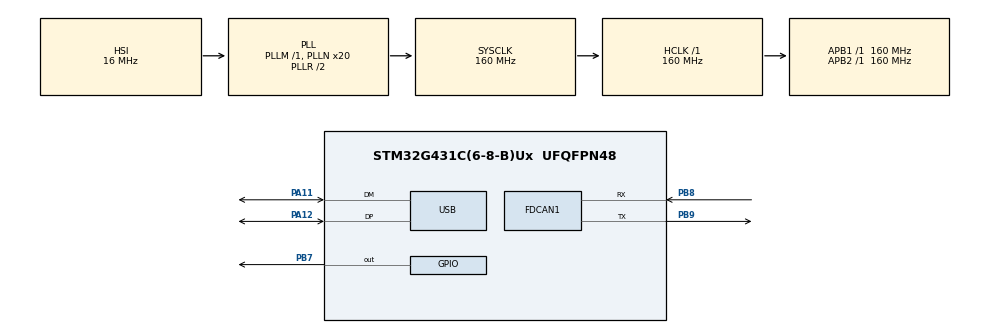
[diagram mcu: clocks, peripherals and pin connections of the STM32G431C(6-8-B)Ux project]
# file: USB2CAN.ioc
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FDCAN1.AutoRetransmission=ENABLE
FDCAN1.CalculateBaudRateNominal=1000000
FDCAN1.CalculateTimeBitNominal=1000
FDCAN1.CalculateTimeQuantumNominal=50.0
FDCAN1.DataSyncJumpWidth=8
FDCAN1.DataTimeSeg1=16
FDCAN1.DataTimeSeg2=8
FDCAN1.ExtFiltersNbr=0
FDCAN1.FrameFormat=FDCAN_FRAME_FD_BRS
FDCAN1.Mode=FDCAN_MODE_NORMAL
FDCAN1.NominalPrescaler=8
FDCAN1.NominalSyncJumpWidth=64
FDCAN1.NominalTimeSeg1=12
FDCAN1.NominalTimeSeg2=7
FDCAN1.StdFiltersNbr=0
FDCAN1.TxFifoQueueMode=FDCAN_TX_FIFO_OPERATION
Mcu.Family=STM32G4
Mcu.Name=STM32G431C(6-8-B)Ux
Mcu.Package=UFQFPN48
NVIC.FDCAN1_IT0_IRQn=true\:10\:0\:true\:false\:true\:true\:true\:true
NVIC.PriorityGroup=NVIC_PRIORITYGROUP_4
NVIC.USB_HP_IRQn=true\:5\:0\:true\:false\:true\:true\:true\:true
NVIC.USB_LP_IRQn=true\:0\:0\:false\:false\:true\:false\:true\:true
PA11.Mode=Device
PA11.Signal=USB_DM
PA12.Mode=Device
PA12.Signal=USB_DP
PA13.Mode=JTAG_5_pins
PA13.Signal=SYS_JTMS-SWDIO
PA14.Mode=JTAG_5_pins
PA14.Signal=SYS_JTCK-SWCLK
PA15.Mode=JTAG_5_pins
PA15.Signal=SYS_JTDI
PB3.Mode=JTAG_5_pins
PB3.Signal=SYS_JTDO-SWO
PB4.Mode=JTAG_5_pins
PB4.Signal=SYS_JTRST
PB7.Signal=GPIO_Output
PB8-BOOT0.Mode=FDCAN_Activate
PB8-BOOT0.Signal=FDCAN1_RX
PB9.Mode=FDCAN_Activate
PB9.Signal=FDCAN1_TX
PF0-OSC_IN.Mode=HSE-External-Oscillator
PF0-OSC_IN.Signal=RCC_OSC_IN
PF1-OSC_OUT.Mode=HSE-External-Oscillator
PF1-OSC_OUT.Signal=RCC_OSC_OUT
ProjectManager.HeapSize=0x600
ProjectManager.StackSize=0x400
ProjectManager.TargetToolchain=STM32CubeIDE
RCC.ADC12Freq_Value=160000000
RCC.AHBFreq_Value=160000000
RCC.APB1Freq_Value=160000000
RCC.APB1TimFreq_Value=160000000
RCC.APB2Freq_Value=160000000
RCC.APB2TimFreq_Value=160000000
RCC.CK48CLockSelection=RCC_USBCLKSOURCE_HSI48
RCC.CortexFreq_Value=160000000
RCC.EXTERNAL_CLOCK_VALUE=12288000
RCC.HCLKFreq_Value=160000000
RCC.HSE_VALUE=8000000
RCC.HSI48_VALUE=48000000
RCC.HSI_VALUE=16000000
RCC.LSE_VALUE=32768
RCC.PLLN=20
RCC.SYSCLKFreq_VALUE=160000000
RCC.SYSCLKSource=RCC_SYSCLKSOURCE_PLLCLK
RCC.USBFreq_Value=48000000
RCC.VCOOutputFreq_Value=320000000
USB_DEVICE.CLASS_NAME_FS=CDC
USB_DEVICE.VirtualMode=Cdc
USB_DEVICE.VirtualModeFS=Cdc_FS
VP_SYS_VS_DBSignals.Mode=DisableDeadBatterySignals
VP_USB_DEVICE_VS_USB_DEVICE_CDC_FS.Mode=CDC_FS
board=custom

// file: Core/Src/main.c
/* USER CODE BEGIN Header */
/**
  ******************************************************************************
  * @file           : main.c
  * @brief          : Main program body
  ******************************************************************************
  * @attention
  *
  * Copyright (c) 2024 STMicroelectronics.
  * All rights reserved.
  *
  * This software is licensed under terms that can be found in the LICENSE file
  * in the root directory of this software component.
  * If no LICENSE file comes with this software, it is provided AS-IS.
  *
  ******************************************************************************
  */
/* USER CODE END Header */
#include "main.h"
#include "fdcan.h"
#include "usb_device.h"
#include "gpio.h"
#include "usbd_cdc_if.h"

/* USER CODE BEGIN PD */
FDCAN_TxHeaderTypeDef TxHeader;
FDCAN_RxHeaderTypeDef RxHeader;
uint8_t TxData[64];
uint8_t RxData[64];
uint8_t output[69];
uint8_t msg[69];
uint8_t dummy_mode = 0; //dummy mode on;
uint32_t id;
uint32_t dlc;
uint8_t CANFD_Rx_Cpl;
/* USER CODE END PD */

void SystemClock_Config(void);

int main(void)
{

  /* MCU Configuration--------------------------------------------------------*/

  /* Reset of all peripherals, Initializes the Flash interface and the Systick. */
  HAL_Init();

  /* Configure the system clock */
  SystemClock_Config();

  /* Initialize all configured peripherals */
  MX_GPIO_Init();
  MX_FDCAN1_Init();
  MX_USB_Device_Init();
  /* USER CODE BEGIN 2 */

  /*
   * @brief can transciver on
   */
  HAL_GPIO_WritePin(GPIOB, GPIO_PIN_7, 0);

  if(HAL_FDCAN_Start(&hfdcan1) != HAL_OK){
	  Error_Handler();
  }
  if(HAL_FDCAN_ActivateNotification(&hfdcan1, FDCAN_IT_RX_FIFO0_NEW_MESSAGE, 0) != HAL_OK){
  	  Error_Handler();
  }

  /*
   * @brief Configure the RX message filter mask for FDCAN1
   *
   * */
  	FDCAN_FilterTypeDef sFilterConfig;

  	sFilterConfig.IdType = FDCAN_STANDARD_ID;
  	sFilterConfig.FilterIndex = 0;
  	sFilterConfig.FilterType = FDCAN_FILTER_MASK;
  	sFilterConfig.FilterConfig = FDCAN_FILTER_TO_RXFIFO0;
  	sFilterConfig.FilterID1 = 0x200;
  	sFilterConfig.FilterID2 = 0x210;
  	HAL_FDCAN_ConfigFilter(&hfdcan1, &sFilterConfig);

  /* USER CODE END 2 */

  /* Infinite loop */
  while (1)
  {
	  if(CANFD_Rx_Cpl == 1){
		  	CANFD_Rx_Cpl = 0;
			id = RxHeader.Identifier;
			dlc = RxHeader.DataLength;
			switch (dlc){
			case FDCAN_DLC_BYTES_0:
				break;
			case FDCAN_DLC_BYTES_1:
				break;
			case FDCAN_DLC_BYTES_2:
				break;
			case FDCAN_DLC_BYTES_3:
				break;
			case FDCAN_DLC_BYTES_4:
				break;
			case FDCAN_DLC_BYTES_5:
				break;
			case FDCAN_DLC_BYTES_6:
				break;
			case FDCAN_DLC_BYTES_7:
				break;
			case FDCAN_DLC_BYTES_8:
				break;
			case FDCAN_DLC_BYTES_12:
				dlc = 0xC;
				break;
			case FDCAN_DLC_BYTES_16:
				dlc = 0x10;
				break;
			case FDCAN_DLC_BYTES_20:
				dlc = 0x14;
				break;
			case FDCAN_DLC_BYTES_24:
				dlc = 0x18;
				break;
			case FDCAN_DLC_BYTES_32:
				dlc = 0x20;
				break;
			case FDCAN_DLC_BYTES_48:
				dlc = 0x30;
				break;
			case FDCAN_DLC_BYTES_64:
				dlc = 0x40;
				break;
			default:
				dlc = 0x40;
				break;
			}
			concatena(id, dlc, RxData, msg);
			if ( CDC_Transmit_FS(msg, 5+dlc) != USBD_OK ){
				Error_Handler();
			}
	  }
  }
}

void SystemClock_Config(void)
{
  RCC_OscInitTypeDef RCC_OscInitStruct = {0};
  RCC_ClkInitTypeDef RCC_ClkInitStruct = {0};

  /** Configure the main internal regulator output voltage
  */
  HAL_PWREx_ControlVoltageScaling(PWR_REGULATOR_VOLTAGE_SCALE1_BOOST);

  /** Initializes the RCC Oscillators according to the specified parameters
  * in the RCC_OscInitTypeDef structure.
  */
  RCC_OscInitStruct.OscillatorType = RCC_OSCILLATORTYPE_HSI|RCC_OSCILLATORTYPE_HSI48;
  RCC_OscInitStruct.HSIState = RCC_HSI_ON;
  RCC_OscInitStruct.HSICalibrationValue = RCC_HSICALIBRATION_DEFAULT;
  RCC_OscInitStruct.HSI48State = RCC_HSI48_ON;
  RCC_OscInitStruct.PLL.PLLState = RCC_PLL_ON;
  RCC_OscInitStruct.PLL.PLLSource = RCC_PLLSOURCE_HSI;
  RCC_OscInitStruct.PLL.PLLM = RCC_PLLM_DIV1;
  RCC_OscInitStruct.PLL.PLLN = 20;
  RCC_OscInitStruct.PLL.PLLP = RCC_PLLP_DIV2;
  RCC_OscInitStruct.PLL.PLLQ = RCC_PLLQ_DIV2;
  RCC_OscInitStruct.PLL.PLLR = RCC_PLLR_DIV2;
  if (HAL_RCC_OscConfig(&RCC_OscInitStruct) != HAL_OK)
  {
    Error_Handler();
  }

  /** Initializes the CPU, AHB and APB buses clocks
  */
  RCC_ClkInitStruct.ClockType = RCC_CLOCKTYPE_HCLK|RCC_CLOCKTYPE_SYSCLK
                              |RCC_CLOCKTYPE_PCLK1|RCC_CLOCKTYPE_PCLK2;
  RCC_ClkInitStruct.SYSCLKSource = RCC_SYSCLKSOURCE_PLLCLK;
  RCC_ClkInitStruct.AHBCLKDivider = RCC_SYSCLK_DIV1;
  RCC_ClkInitStruct.APB1CLKDivider = RCC_HCLK_DIV1;
  RCC_ClkInitStruct.APB2CLKDivider = RCC_HCLK_DIV1;

  if (HAL_RCC_ClockConfig(&RCC_ClkInitStruct, FLASH_LATENCY_4) != HAL_OK)
  {
    Error_Handler();
  }
}

void Error_Handler(void)
{
  __disable_irq();
  while (1)
  {
  }
}
